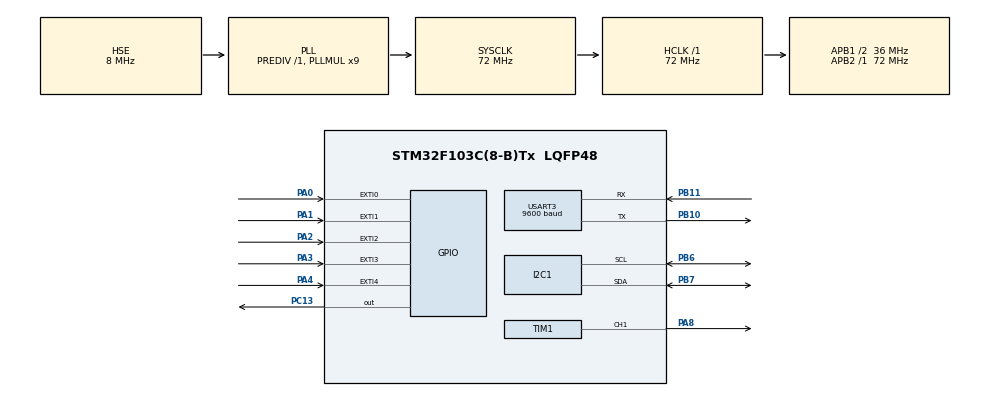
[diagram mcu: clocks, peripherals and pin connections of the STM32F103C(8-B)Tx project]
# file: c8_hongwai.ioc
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Mcu.Family=STM32F1
Mcu.Name=STM32F103C(8-B)Tx
Mcu.Package=LQFP48
NVIC.EXTI0_IRQn=true\:0\:0\:false\:false\:true\:true\:true
NVIC.EXTI1_IRQn=true\:0\:0\:false\:false\:true\:true\:true
NVIC.EXTI2_IRQn=true\:0\:0\:false\:false\:true\:true\:true
NVIC.EXTI3_IRQn=true\:0\:0\:false\:false\:true\:true\:true
NVIC.EXTI4_IRQn=true\:0\:0\:false\:false\:true\:true\:true
NVIC.PriorityGroup=NVIC_PRIORITYGROUP_4
NVIC.USART3_IRQn=true\:0\:0\:false\:false\:true\:true\:true
PA0-WKUP.GPIO_ModeDefaultEXTI=GPIO_MODE_IT_RISING
PA0-WKUP.GPIO_PuPd=GPIO_PULLUP
PA0-WKUP.Signal=GPXTI0
PA1.GPIO_PuPd=GPIO_PULLUP
PA1.Signal=GPXTI1
PA13.Mode=Serial_Wire
PA13.Signal=SYS_JTMS-SWDIO
PA14.Mode=Serial_Wire
PA14.Signal=SYS_JTCK-SWCLK
PA2.GPIO_PuPd=GPIO_PULLUP
PA2.Signal=GPXTI2
PA3.GPIO_PuPd=GPIO_PULLUP
PA3.Signal=GPXTI3
PA4.GPIO_PuPd=GPIO_PULLUP
PA4.Signal=GPXTI4
PA8.Signal=S_TIM1_CH1
PB10.Mode=Asynchronous
PB10.Signal=USART3_TX
PB11.Mode=Asynchronous
PB11.Signal=USART3_RX
PB6.Mode=I2C
PB6.Signal=I2C1_SCL
PB7.Mode=I2C
PB7.Signal=I2C1_SDA
PC13-TAMPER-RTC.Signal=GPIO_Output
PD0-OSC_IN.Mode=HSE-External-Oscillator
PD0-OSC_IN.Signal=RCC_OSC_IN
PD1-OSC_OUT.Mode=HSE-External-Oscillator
PD1-OSC_OUT.Signal=RCC_OSC_OUT
ProjectManager.HeapSize=0x200
ProjectManager.StackSize=0x1000
ProjectManager.TargetToolchain=MDK-ARM V5.32
RCC.AHBFreq_Value=72000000
RCC.APB1CLKDivider=RCC_HCLK_DIV2
RCC.APB1Freq_Value=36000000
RCC.APB1TimFreq_Value=72000000
RCC.APB2Freq_Value=72000000
RCC.APB2TimFreq_Value=72000000
RCC.HCLKFreq_Value=72000000
RCC.PLLMUL=RCC_PLL_MUL9
RCC.PLLSourceVirtual=RCC_PLLSOURCE_HSE
RCC.SYSCLKFreq_VALUE=72000000
RCC.SYSCLKSource=RCC_SYSCLKSOURCE_PLLCLK
RCC.USBFreq_Value=72000000
SH.S_TIM1_CH1.0=TIM1_CH1,PWM Generation1 CH1
TIM1.AutoReloadPreload=TIM_AUTORELOAD_PRELOAD_ENABLE
TIM1.Channel-PWM\ Generation1\ CH1=TIM_CHANNEL_1
TIM1.Period=25
TIM1.Prescaler=71
TIM2.Prescaler=71
USART3.BaudRate=9600
USART3.VirtualMode=VM_ASYNC
VP_TIM1_VS_ClockSourceINT.Mode=Internal
VP_TIM2_VS_ClockSourceINT.Mode=Internal
board=custom

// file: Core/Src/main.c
/* USER CODE BEGIN Header */
/**
  ******************************************************************************
  * @file           : main.c
  * @brief          : Main program body
  ******************************************************************************
  * @attention
  *
  * <h2><center>&copy; Copyright (c) 2022 STMicroelectronics.
  * All rights reserved.</center></h2>
  *
  * This software component is licensed by ST under BSD 3-Clause license,
  * the "License"; You may not use this file except in compliance with the
  * License. You may obtain a copy of the License at:
  *                        opensource.org/licenses/BSD-3-Clause
  *
  ******************************************************************************
  */
/* USER CODE END Header */
#include "main.h"
#include "i2c.h"
#include "tim.h"
#include "usart.h"
#include "gpio.h"
#include "flash.h"
#include "string.h"
/* USER CODE BEGIN Includes */
uint8_t  ubuf[64];
#define UI_printf(...) HAL_UART_Transmit(&huart3, \
                  (uint8_t *)ubuf, \
                 sprintf((char *)ubuf,__VA_ARGS__), \
                  0xffff)
uint8_t init_mode=8;//前三位
	uint8_t on_off=1;
	uint8_t fuckyou=8;//前三?
	uint8_t on=0;
	uint8_t temperature=26;
uint8_t wind=0;
								 int wind_for_bt=0;
								 int uart_mode=0;
								 		 int uart_wind=0;
								 int uart_temp=0;
								int no_temp=0;
	void turn_on();
	int beijian=0;
	char oled_temp[10]={0};
		char oled_onoff[10]={0};
			char oled_mode[10]={0};
				char oled_wind[10]={0};
	uint8_t aRxBuffer[111];
 uint8_t TEXT_Buffer[]={"STM32 FLASH TEST"};
#define SIZE sizeof(TEXT_Buffer)	 	//数组长度
#define FLASH_SAVE_ADDR  0x0800F000 	//设置FLASH 保存地址(必须为偶数，且其值要大于本代码所占用FLASH的大小+0X08000000)
//#define FLASH_SAVE_ADDR_Mode  0X08002000 	//设置FLASH 保存地址(必须为偶数，且其值要大于本代码所占用FLASH的大小+0X08000000)

uint8_t datatemp[SIZE];
uint8_t shabi[SIZE];
/* USER CODE END Includes */

/* USER CODE BEGIN PTD */
uint16_t count=0;
void user_delaynus_tim(uint32_t nus)
{

 uint16_t  differ = 0xffff-nus-5;

  __HAL_TIM_SetCounter(&htim2,differ);

  HAL_TIM_Base_Start(&htim2);

  while( differ<0xffff-5)
 {
  differ = __HAL_TIM_GetCounter(&htim2);
 };

  HAL_TIM_Base_Stop(&htim2);
}
/* USER CODE END PTD */

void SystemClock_Config(void);

/* USER CODE BEGIN 0 */
#define delayUs(x) { unsigned int _dcnt; \
      _dcnt=(x*16); \
      while(_dcnt-- > 0) \
      { continue; }\
     }
uint32_t count1=0;

void code(uint8_t arg)
{
	__HAL_TIM_SetCompare(&htim1, TIM_CHANNEL_1, 8);
		user_delaynus_tim(560);
		__HAL_TIM_SetCompare(&htim1, TIM_CHANNEL_1, 0);
			if(arg==0)
			{
user_delaynus_tim(560);
			}
				else
			{
user_delaynus_tim(1680);
			}
}
void code_temp_rev(uint8_t arg)
{
	int temp;
	for(int dock=0;dock<4;dock++)
	{
		if(init_mode==2)beijian=6;
		if(init_mode==4)beijian=4;
		if(init_mode==8)beijian=3;
		if(init_mode==12)beijian=5;

		temp=((arg-16+beijian)%16)>>dock;
		temp=temp&0x01;

		if(dock==3)
		{
			if(on_off==0)
			{
				if(temp==0)temp=1;
				if(temp==1)temp=0;
			}

		}
		if(init_mode==0)
			{
				if(dock==0)temp=1;
				if(dock==1)temp=1;
				if(dock==2)temp=0;
				if(dock==3)
				{
						if(on_off==0)
			{
			temp=0;
			}
			else
			{
					temp=1;
			}
				}
			}
code(temp);
	}
}
//void code_temp_rev(uint8_t arg)
//{
//	int temp;
//	for(int dock=0;dock<4;dock++)
//	{
//		temp=((arg-13)%16)>>dock;
//		temp=temp&0x01;
//code(temp);
//	}
//}

void code_temp(uint8_t arg)
{
	int temp;
	for(int dock=0;dock<4;dock++)
	{
		temp=(arg-16)>>dock;
		temp=temp&0x01;
				if(init_mode==0)
			{
				if(dock==0)temp=1;
				if(dock==1)temp=0;
				if(dock==2)temp=0;
				if(dock==3)temp=1;
			}
code(temp);

	}
}
void code_hex(uint8_t arg)
{
	int temp1;
	for(int dock=0;dock<4;dock++)
	{
		temp1=arg>>(3-dock);
		temp1=temp1&0x01;
code(temp1);
	}
}

void code0()
{
	__HAL_TIM_SetCompare(&htim1, TIM_CHANNEL_1, 8);
user_delaynus_tim(560);
		__HAL_TIM_SetCompare(&htim1, TIM_CHANNEL_1, 0);
	user_delaynus_tim(560);
TIM_ForcedOC1Config(TIM3, TIM_ForcedAction_InActive);//??????,?TIM3_CH1?????,
}
void code1()
{
	__HAL_TIM_SetCompare(&htim1, TIM_CHANNEL_1, 8);
user_delaynus_tim(560);
		__HAL_TIM_SetCompare(&htim1, TIM_CHANNEL_1, 0);
user_delaynus_tim(1680);

}
void code_0()
{
	__HAL_TIM_SetCompare(&htim1, TIM_CHANNEL_1, 8);
user_delaynus_tim(560);
		__HAL_TIM_SetCompare(&htim1, TIM_CHANNEL_1, 0);
	user_delaynus_tim(560);

}
void code_1()
{
	__HAL_TIM_SetCompare(&htim1, TIM_CHANNEL_1, 8);
user_delaynus_tim(560);
		__HAL_TIM_SetCompare(&htim1, TIM_CHANNEL_1, 0);
user_delaynus_tim(1680);

}
void code0times(int arg)
{
	for(int i=0;i<arg;i++)
	{
	code0();
	}
}
void code1times(int arg)
{
	for(int i=0;i<arg;i++)
	{
	code1();
	}
}

void HAL_GPIO_EXTI_Callback(uint16_t GPIO_Pin)
{
	if(GPIO_Pin==GPIO_PIN_0)//PA0 模式
	{
		switch(init_mode){
			case 2:
				init_mode=4;
			break;
			case 4:
				init_mode=12;
			break;
			case 12:
				init_mode=8;
			break;
			case 8:
				init_mode=0;
			break;
			case 0:
				init_mode=2;
			break;
			default:
				break;
		}
				HAL_GPIO_TogglePin(GPIOC,GPIO_PIN_13);

	}
		if(GPIO_Pin==GPIO_PIN_1)//PA1  风速
	{
		switch(wind){
			case 0:
				wind=2;
			break;
			case 1:
				wind=3;
			break;
			case 2:
				wind=1;
			break;
			case 3:
				wind=0;
			break;
			default:
				wind=0;
				break;
		}
				HAL_GPIO_TogglePin(GPIOC,GPIO_PIN_13);

	}
		if(GPIO_Pin==GPIO_PIN_2)//PA2  +
	{

		temperature++;
		if(temperature>29)
		{
			temperature=30;
		}
			on=1;
		sprintf(oled_temp,"%d",temperature);
						HAL_GPIO_TogglePin(GPIOC,GPIO_PIN_13);

	}
		if(GPIO_Pin==GPIO_PIN_3)//PA3  -
	{

			temperature--;
		if(temperature<16)
		{
			temperature=16;
		}
on=1;
	sprintf(oled_temp,"%d",temperature);
						HAL_GPIO_TogglePin(GPIOC,GPIO_PIN_13);

	}
		if(GPIO_Pin==GPIO_PIN_4)//PA4  开关
	{
		on_off=(on_off==0)?1:0;
		on=1;
				HAL_GPIO_TogglePin(GPIOC,GPIO_PIN_13);

	}
		UI_printf("%d%d%d%d",temperature,(int)init_mode/2,wind,(int)on_off);

		sprintf(oled_temp,"%d",temperature);
		OLED_ShowStr(50, 0, oled_temp, 2);
		OLED_ShowStr(50, 2, "   ", 2);
	OLED_ShowStr(50, 4, "         ", 2);
		OLED_ShowStr(50, 6, "    ", 2);
	if(on_off==1)OLED_ShowStr(50, 2, "ON", 2);
		if(on_off==0)OLED_ShowStr(50, 2, "OFF", 2);
if(init_mode==0)OLED_ShowStr(50, 4, "Auto", 2);
		if(init_mode==2)OLED_ShowStr(50, 4, "Warm", 2);
	if(init_mode==4)OLED_ShowStr(50, 4, "Dehumidify", 2);
		if(init_mode==12)OLED_ShowStr(50, 4, "Blowing-in", 2);
			if(init_mode==8)OLED_ShowStr(50, 4, "Cold", 2);

	sprintf(oled_wind,"%d",wind);
	if(wind==0)
	{
			OLED_ShowStr(50, 6, "Auto", 2);
	}
	if(wind==1)
	{
			OLED_ShowStr(50, 6, "2", 2);
	}
	if(wind==2)
	{
			OLED_ShowStr(50, 6, "1", 2);
	}
	if(wind==3)
	{
			OLED_ShowStr(50, 6, "3", 2);
	}
	sprintf((char *)TEXT_Buffer,"%d-%d",temperature,init_mode);
FlashWriteBuff( DEVICE_INFO_ADDRESS, TEXT_Buffer,sizeof(TEXT_Buffer) );
	on=1;

}

void HAL_UART_RxCpltCallback(UART_HandleTypeDef *huart)
{
	if(uart_mode==1)
	{
		init_mode=2*(aRxBuffer[0]-48);
		uart_mode=0;
		no_temp=1;
	}
	if(uart_wind==1)
	{
		wind_for_bt=aRxBuffer[0]-48;
wind=wind_for_bt;
		if(wind_for_bt==1)wind=2;
		if(wind_for_bt==2)wind=1;

		uart_wind=0;
		no_temp=1;
	}

	if(aRxBuffer[0]=='!')
	{
uart_mode=1;
		no_temp=1;
	}
if(aRxBuffer[0]=='w')
	{
    uart_wind=1;
		no_temp=1;
	}
	if(aRxBuffer[0]=='k')
	{
on_off=1;
		no_temp=1;
	}
	if(aRxBuffer[0]=='g')
	{
on_off=0;
		no_temp=1;

	}
	if(aRxBuffer[0]=='-')
	{
uart_temp=2;

	}

	if((uart_temp+no_temp)==0)
	{
temperature=(int)aRxBuffer[0]-25;
		if(temperature>29)
		{
			temperature=30;
		}
	}
		no_temp=0;
		if(uart_temp==1)
	{

		temperature=71-(int)aRxBuffer[0];
		if(temperature<16)
		{
			temperature=16;
		}
		uart_temp=0;

	}
	if(uart_temp==2)
		uart_temp--;
//UI_printf("  %d",uart_time++);
	UI_printf("%d%d%d%d",temperature,(int)init_mode/2,wind_for_bt,(int)on_off);
	sprintf(oled_temp,"%d",temperature);
		OLED_ShowStr(50, 0, oled_temp, 2);
	OLED_ShowStr(50, 4, "        ", 2);
		OLED_ShowStr(50, 6, "     ", 2);
	OLED_ShowStr(50, 2, "     ", 2);
	if(on_off==1)OLED_ShowStr(50, 2, "ON", 2);
		if(on_off==0)OLED_ShowStr(50, 2, "OFF", 2);
	OLED_ShowStr(50, 4, "           ", 2);
if(init_mode==0)OLED_ShowStr(50, 4, "Auto", 2);
		if(init_mode==2)OLED_ShowStr(50, 4, "Warm", 2);
	if(init_mode==4)OLED_ShowStr(50, 4, "Dehumidify", 2);
		if(init_mode==12)OLED_ShowStr(50, 4, "Blowing-in", 2);
			if(init_mode==8)OLED_ShowStr(50, 4, "Cold", 2);

	sprintf(oled_wind,"%d",wind);
	if(wind==0)
	{
			OLED_ShowStr(50, 6, "Auto", 2);
	}
	if(wind==1)
	{
			OLED_ShowStr(50, 6, "2", 2);
	}
	if(wind==2)
	{
			OLED_ShowStr(50, 6, "1", 2);
	}
	if(wind==3)
	{
			OLED_ShowStr(50, 6, "3", 2);
	}

		sprintf((char *)TEXT_Buffer,"%d-%d",temperature,init_mode);
FlashWriteBuff( DEVICE_INFO_ADDRESS, TEXT_Buffer,sizeof(TEXT_Buffer) );
on=1;
		HAL_UART_Receive_IT(&huart3, (uint8_t *)aRxBuffer, 1);

}

void ok_on(uint8_t mode,uint8_t kaiguan,uint8_t wendu);
/* USER CODE END 0 */

int main(void)
{

  /* MCU Configuration--------------------------------------------------------*/

  /* Reset of all peripherals, Initializes the Flash interface and the Systick. */
  HAL_Init();

  /* Configure the system clock */
  SystemClock_Config();

  /* Initialize all configured peripherals */
  MX_GPIO_Init();
  MX_I2C1_Init();
  MX_TIM1_Init();
  MX_TIM2_Init();
  MX_USART3_UART_Init();
  /* USER CODE BEGIN 2 */
//__HAL_TIM_ENABLE_IT(&htim3, TIM_CHANNEL_1);
HAL_TIM_PWM_Start(&htim1, TIM_CHANNEL_1);

HAL_Delay(100);
			sprintf((char *)TEXT_Buffer,"%d",temperature);
		STMFLASH_Write(FLASH_SAVE_ADDR,(uint16_t *)TEXT_Buffer,SIZE);
HAL_Delay(100);

//		STMFLASH_Write(FLASH_SAVE_ADDR_Mode,(uint16_t *)TEXT_Buffer,SIZE);
	OLED_Init();
	OLED_CLS();
		HAL_Delay(100);
	/* USER CODE BEGIN 0 */
uint8_t FlashWBuff [255];
uint8_t FlashRBuff [255];
/* USER CODE END 0 */

/* USER CODE BEGIN 1 */
	uint8_t i;
	uint8_t FlashTest[] = "Test DEMO";
  /* USER CODE END 1 */
  /* USER CODE BEGIN SysInit */
//			sprintf((char *)TEXT_Buffer,"%d",init_mode);
//FlashWriteBuff( DEVICE_INFO_ADDRESS, TEXT_Buffer,sizeof(TEXT_Buffer) );        // ?????Flash
//
//	for(i=0;i<255;i++)
//		FlashWBuff[i] = i;
//
//  FlashWriteBuff( DEVICE_INFO_ADDRESS + sizeof(FlashTest), FlashWBuff,255 );  // ?????Flash
	FlashReadBuff(  DEVICE_INFO_ADDRESS,FlashRBuff,sizeof(FlashTest)  );  // ?Flash????
 	sprintf(oled_temp,"%d",temperature);
	  OLED_ShowStr(50, 0, oled_temp, 2);
		char *flash_mode=strchr(FlashRBuff,'-')+1;
		init_mode = atoi(flash_mode);
 //   OLED_ShowStr(90, 0, flash_mode, 1);
 /* USER CODE END SysInit */

  /* Initialize all configured peripherals */
  MX_GPIO_Init();
  /* USER CODE BEGIN 2 */

if(init_mode==0)OLED_ShowStr(50, 4, "Auto", 2);
		if(init_mode==2)OLED_ShowStr(50, 4, "Warm", 2);
	if(init_mode==4)OLED_ShowStr(50, 4, "Dehumidify", 2);
		if(init_mode==12)OLED_ShowStr(50, 4, "Blowing-in", 2);
			if(init_mode==8)OLED_ShowStr(50, 4, "Cold", 2);
			HAL_Delay(100);

	sprintf(oled_wind,"%d",wind);
	if(wind==0)
	{
			OLED_ShowStr(50, 6, "Auto", 2);
	}
	else{
	OLED_ShowStr(50, 6, oled_wind, 2);
	}
  OLED_ShowStr(1, 0, "Temp:", 2);
	OLED_ShowStr(1, 2, "Now:", 2);

	OLED_ShowStr(1, 4, "Mode:", 2);
	OLED_ShowStr(1, 6, "Wind:", 2);

	HAL_UART_Receive_IT(&huart3, (uint8_t *)aRxBuffer, 1);
//__HAL_TIM_SetCompare(&htim2, TIM_CHANNEL_1, 0);
  /* USER CODE END 2 */

  /* Infinite loop */
  /* USER CODE BEGIN WHILE */
	int temper;
	init_mode=0;
  while (1)
  {
    /* USER CODE END WHILE */

    /* USER CODE BEGIN 3 */
						HAL_GPIO_TogglePin(GPIOC,GPIO_PIN_13);

if(on==1)
{
		on=0;
turn_on();
//HAL_Delay(1000);
//
}
//turn_on();
HAL_Delay(500);
  }
  /* USER CODE END 3 */
}

void SystemClock_Config(void)
{
  RCC_OscInitTypeDef RCC_OscInitStruct = {0};
  RCC_ClkInitTypeDef RCC_ClkInitStruct = {0};

  /** Initializes the RCC Oscillators according to the specified parameters
  * in the RCC_OscInitTypeDef structure.
  */
  RCC_OscInitStruct.OscillatorType = RCC_OSCILLATORTYPE_HSE;
  RCC_OscInitStruct.HSEState = RCC_HSE_ON;
  RCC_OscInitStruct.HSEPredivValue = RCC_HSE_PREDIV_DIV1;
  RCC_OscInitStruct.HSIState = RCC_HSI_ON;
  RCC_OscInitStruct.PLL.PLLState = RCC_PLL_ON;
  RCC_OscInitStruct.PLL.PLLSource = RCC_PLLSOURCE_HSE;
  RCC_OscInitStruct.PLL.PLLMUL = RCC_PLL_MUL9;
  if (HAL_RCC_OscConfig(&RCC_OscInitStruct) != HAL_OK)
  {
    Error_Handler();
  }
  /** Initializes the CPU, AHB and APB buses clocks
  */
  RCC_ClkInitStruct.ClockType = RCC_CLOCKTYPE_HCLK|RCC_CLOCKTYPE_SYSCLK
                              |RCC_CLOCKTYPE_PCLK1|RCC_CLOCKTYPE_PCLK2;
  RCC_ClkInitStruct.SYSCLKSource = RCC_SYSCLKSOURCE_PLLCLK;
  RCC_ClkInitStruct.AHBCLKDivider = RCC_SYSCLK_DIV1;
  RCC_ClkInitStruct.APB1CLKDivider = RCC_HCLK_DIV2;
  RCC_ClkInitStruct.APB2CLKDivider = RCC_HCLK_DIV1;

  if (HAL_RCC_ClockConfig(&RCC_ClkInitStruct, FLASH_LATENCY_2) != HAL_OK)
  {
    Error_Handler();
  }
}

/* USER CODE BEGIN 4 */
void turn_on()
{

__HAL_TIM_SetCompare(&htim1, TIM_CHANNEL_1,8);
user_delaynus_tim(9000);
__HAL_TIM_SetCompare(&htim1, TIM_CHANNEL_1, 0);
user_delaynus_tim(4500);

code_hex(init_mode+on_off);

	code_hex(4*wind);

//code0();
//code0();
//code0();
//code0();
//
code_temp(temperature);

code0();
code0();
code0();
code0();

code0();
code0();
code0();
code0();

code0();//0x00

//
code1();
code0();
code0();

code0();
code0();
code0();
code0();

code1();
code0();
code1();

code0();

code0();
code1();
code0();

code1();//jieshu

HAL_Delay(17);
	code0();
		code0();
		code0();
		code0();
		code0();
		code0();
		code0();
		code0();
		code0();
		code0();
		code0();
		code0();
		code0();
		code0();
		code0();
		code0();
		code0();
		code0();
		code0();
		code0();
		code0();
		code0();
		code0();
		code0();
		code0();
		code0();
		code0();
		code0();
code_temp_rev(temperature);

code1();//结束码

HAL_Delay(34);
__HAL_TIM_SetCompare(&htim1, TIM_CHANNEL_1,8);
user_delaynus_tim(9000);
__HAL_TIM_SetCompare(&htim1, TIM_CHANNEL_1, 0);
user_delaynus_tim(4500);

code_hex(init_mode+on_off);

	code_hex(4*wind);

//code0();
//code0();
//code0();
//code0();

code_temp(temperature);

code0();
code0();
code0();
code0();

code0();
code0();
code0();
code0();

code0();//0x00

//
code1();
code0();
code0();

code0();
code0();
code0();

code0();
code1();

code1();
code1();

code0();

code0();

code1();
code0();

code1();//jieshu

HAL_Delay(17);
			code0();
		code0();
		code0();
		code0();
		code0();
		code0();
		code0();
		code0();
		code0();
		code0();
		code0();
		code0();
		code0();
		code0();
		code0();
		code0();
		code0();
		code0();
		code0();
		code0();
		code0();
		code0();
		code0();
		code0();
		code0();
		code0();
		code0();
		code0();
code_temp_rev(temperature);
code1();//结束码
	HAL_Delay(1000);
}

/* USER CODE END 4 */

void Error_Handler(void)
{
  __disable_irq();
  while (1)
  {
  }
}

/************************ (C) COPYRIGHT STMicroelectronics *****END OF FILE****/
